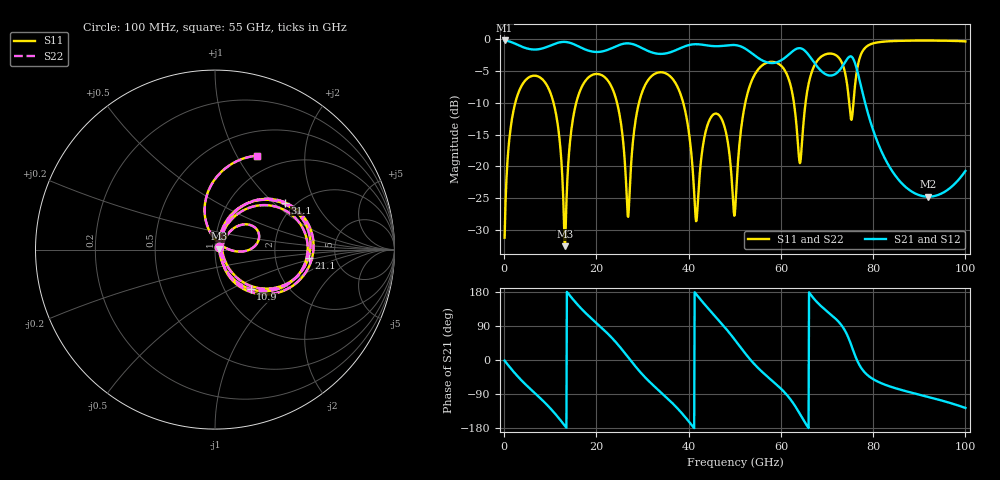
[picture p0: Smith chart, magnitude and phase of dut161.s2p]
! Touchstone file exported from HFSS 2026.1.0
!  File:  C:/ffzhzh/LocalFiles/Ansys_Project_Files/temp_test_TSV_RDL_161_1783465312_41684.aedt
!  Generated:  07:17:28 AM Jul  8, 2026
!  Design:  TSV_RDL
!  Project:  temp_test_TSV_RDL_161_1783465312_41684
! Variables:
!  h_bsmrdl = 3.35um
!  h_ox = 20um
!  h_rdl = 5um
!  h_sub = 89.34um
!  h_tmrdl = 3.62um
!  h_tsv = 89.34um
!  h_via = 3um
!  l_bsmrdl = 626.65um
!  l_sub = 4151.82um
!  l_tmrdl = 442.4um
!  m_sub = 200um
!  pitch = 47.07um
!  r_tsv = 12.62um
!  s_tmrdl = 10um
!  w_bsmrdl = 16.79um
!  w_sub = 500um
!  w_tmrdl = 17.3um
!  x_tsv_center1 = 451.05um
!  x_tsv_center2 = 1094.49um
!  x_tsv_center3 = 1554.19um
!  x_tsv_center4 = 2197.63um
!  x_tsv_center5 = 2657.33um
!  x_tsv_center6 = 3300.77um
# GHz S MA R 50.000000
! Terminal data exported
! Port[1] = TM_RDL1_1_T1
! Port[2] = TM_RDL5_1_T1
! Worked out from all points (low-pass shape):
!   1000 points, 100 MHz to 100 GHz, reference 50 ohm
!   highest |S21| = -0.20 dB at 100 MHz (marker M1); lowest = -24.8 dB at 92 GHz (marker M2)
!   |S21| within 3 dB of the highest: start of sweep to 55.63 GHz; 60.33 GHz to 66.74 GHz (6.408 GHz wide, 10.1 % of centre) (the widest 2 of 3)
!   lowest |S11| = -32.5 dB at 13.2 GHz (marker M3), VSWR 1.05, Z = 52.4 + j0.569 ohm
!   |S11| at or under -10 dB: 10.71 GHz to 15.63 GHz (4.916 GHz wide, 37.3 % of centre); 24.48 GHz to 29.23 GHz (4.752 GHz wide, 17.7 % of centre); 38.83 GHz to 52.28 GHz (13.46 GHz wide, 29.5 % of centre) (the widest 3 of 6)
!   |S22| runs from -32.2 to -0.2 dB; largest |S21 - S12| = 2.2e-13
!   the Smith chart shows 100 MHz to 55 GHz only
!   S11 on the Smith chart (normalised r, x): 100 MHz: 1.05, +0.03; 10.9 GHz: 1.32, -0.64; 21.1 GHz: 3.14, -0.39; 31.1 GHz: 1.77, +1.19; 55 GHz: 0.78, +1.22
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0.1  0.02755 33.5  0.9773 -1.6  0.9773 -1.6  0.02755 33.5
! Gamma 0 0 0 0
! Port Impedance 50 0 50 0
3.4  0.4038 37.1  0.8874 -49.2  0.8874 -49.2  0.4038 37.1
10.9  0.2964 -48.0  0.9179 -139.7  0.9179 -139.7  0.2964 -47.9
13.2  0.02364 13.3  0.9519 -174.0  0.9519 -174.0  0.02451 13.1
16.8  0.4197 41.1  0.854 134.6  0.854 134.6  0.4197 40.9
21.1  0.5229 -4.9  0.7994 85.4  0.7994 85.4  0.5229 -5.0
26.9  0.04017 13.7  0.9275 6.9  0.9275 6.9  0.03829 14.0
31.1  0.4707 33.8  0.811 -52.5  0.811 -52.5  0.4705 34.1
33.4  0.5473 9.6  0.768 -78.9  0.768 -78.9  0.5472 9.9
38.7  0.3284 -47.8  0.8651 -142.9  0.8651 -142.9  0.3284 -47.4
41.6  0.03711 -11.9  0.9135 174.2  0.9135 174.2  0.03895 -11.3
45.7  0.2597 24.2  0.881 116.0  0.881 116.0  0.2599 24.1
50.1  0.04682 76.8  0.8987 51.9  0.8987 51.9  0.04718 76.4
55  0.5747 65.8  0.7154 -20.4  0.7154 -20.4  0.5748 65.7
62.4  0.3885 -8.0  0.7958 -109.3  0.7958 -109.3  0.3885 -8.0
64.2  0.1074 43.7  0.8492 -144.0  0.8492 -144.0  0.1077 43.7
66.7  0.5538 69.4  0.6953 168.7  0.6953 168.7  0.5538 69.3
72.1  0.7415 19.4  0.5419 106.1  0.5419 106.1  0.7415 19.4
75.8  0.3393 64.4  0.6881 21.0  0.6881 21.0  0.3395 64.3
83.4  0.9632 16.6  0.1014 -68.8  0.1014 -68.8  0.9632 16.7
92  0.9749 -8.0  0.05787 -97.7  0.05787 -97.7  0.975 -7.9
100  0.9614 -32.7  0.09209 -126.4  0.09209 -126.4  0.9616 -32.6
